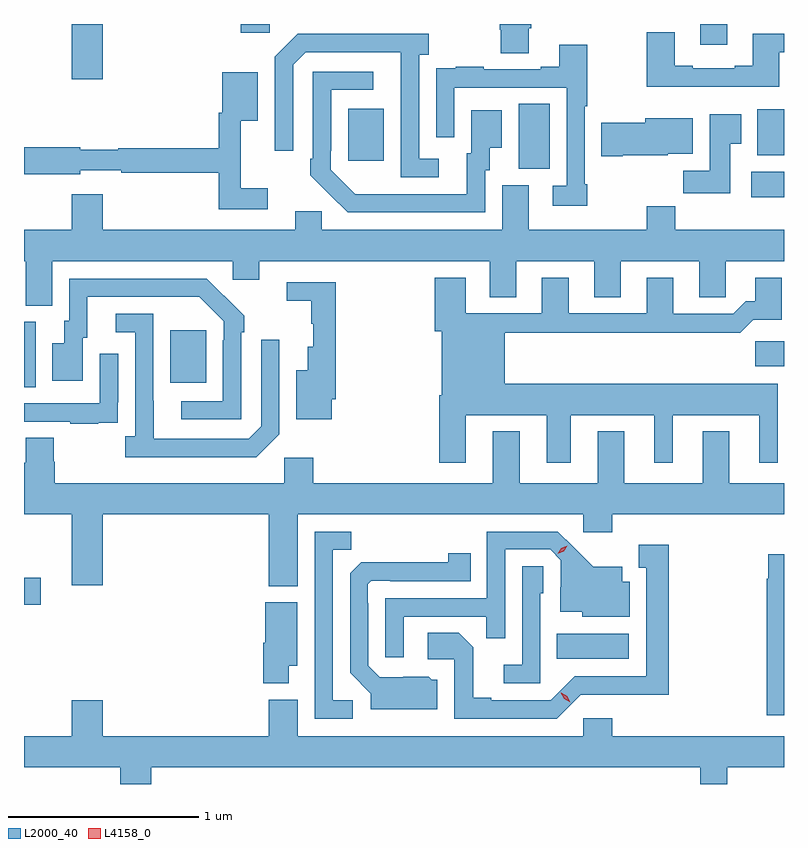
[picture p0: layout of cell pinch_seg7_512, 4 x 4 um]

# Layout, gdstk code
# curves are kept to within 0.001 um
import gdstk
lib = gdstk.Library(unit=1e-6, precision=1e-09)
def R(c, l, rs):  # rectangles x0, y0, x1, y1
    for r in rs: c.add(gdstk.rectangle(r[:2], r[2:], *l))
def P(c, l, *ps):  # polygons
    for p in ps: c.add(gdstk.Polygon(p, *l))
L2000_40 = (2000, 40)
L4158_0 = (4158, 0)

pinch_seg7_512 = lib.new_cell('pinch_seg7_512')
R(pinch_seg7_512, L2000_40, [(155.572,1065.122,155.953,1065.256), (152.769,1065.407,152.857,1065.549), (152.769,1066.552,152.83,1066.896), (153.539,1066.577,153.727,1066.852), (156.618,1066.664,156.769,1066.793), (156.597,1067.552,156.769,1067.686), (155.372,1067.701,155.536,1068.044), (154.475,1067.745,154.663,1068.019), (156.629,1067.774,156.769,1068.016), (153.02,1068.174,153.184,1068.464), (156.329,1068.354,156.469,1068.464), (153.911,1068.417,154.062,1068.464)])
P(pinch_seg7_512, L2000_40, [(155.425,1068.442),(155.438,1068.442),(155.438,1068.464),(155.273,1068.464),(155.273,1068.435),(155.278,1068.435),(155.278,1068.31),(155.425,1068.31)],
  [(156.745,1068.315),(156.769,1068.315),(156.769,1068.412),(156.605,1068.412),(156.605,1068.244),(156.509,1068.244),(156.509,1068.231),(156.289,1068.231),(156.289,1068.244),(156.193,1068.244),(156.193,1068.421),(156.046,1068.421),(156.046,1068.134),(156.745,1068.134)],
  [(154.951,1067.754),(154.848,1067.754),(154.848,1068.302),(154.9,1068.302),(154.9,1068.412),(154.21,1068.412),(154.089,1068.291),(154.089,1067.796),(154.185,1067.796),(154.185,1068.249),(154.251,1068.315),(154.751,1068.315),(154.752,1067.658),(154.951,1067.658)],
  [(155.734,1067.62),(155.721,1067.62),(155.721,1068.032),(155.734,1068.032),(155.734,1068.355),(155.585,1068.355),(155.585,1068.238),(155.489,1068.238),(155.489,1068.225),(155.189,1068.225),(155.189,1068.238),(155.041,1068.238),(155.041,1068.231),(154.939,1068.231),(154.939,1068.122),(154.938,1068.122),(154.938,1067.868),(155.034,1067.868),(155.034,1068.129),(155.625,1068.129),(155.625,1067.613),(155.553,1067.613),(155.553,1067.508),(155.734,1067.508)],
  [(155.196,1067.694),(155.221,1067.694),(155.221,1067.813),(155.284,1067.813),(155.284,1068.01),(155.123,1068.01),(155.123,1067.784),(155.099,1067.784),(155.099,1067.568),(154.512,1067.569),(154.383,1067.697),(154.383,1067.797),(154.386,1067.797),(154.386,1068.117),(154.606,1068.117),(154.606,1068.213),(154.29,1068.213),(154.29,1067.755),(154.275,1067.755),(154.275,1067.667),(154.472,1067.472),(155.196,1067.472)],
  [(154.051,1067.599),(153.911,1067.599),(153.911,1067.954),(154,1067.954),(154,1068.211),(153.812,1068.211),(153.812,1067.997),(153.793,1067.997),(153.793,1067.81),(153.266,1067.81),(153.266,1067.803),(153.066,1067.803),(153.066,1067.816),(152.769,1067.816),(152.769,1067.674),(153.066,1067.674),(153.066,1067.694),(153.28,1067.694),(153.28,1067.682),(153.793,1067.682),(153.793,1067.49),(154.051,1067.49)],
  [(156.487,1067.833),(156.544,1067.833),(156.544,1067.989),(156.377,1067.989),(156.377,1067.692),(156.238,1067.692),(156.238,1067.574),(156.487,1067.574)],
  [(155.92,1067.774),(156.156,1067.774),(156.156,1067.78),(156.289,1067.78),(156.289,1067.968),(156.038,1067.968),(156.038,1067.945),(155.808,1067.945),(155.808,1067.767),(155.92,1067.767)],
  [(152.917,1067.216),(153.867,1067.216),(153.867,1067.118),(154.006,1067.118),(154.006,1067.216),(155.219,1067.216),(155.219,1067.026),(155.359,1067.026),(155.359,1067.216),(155.771,1067.216),(155.771,1067.026),(155.911,1067.026),(155.911,1067.216),(156.323,1067.216),(156.323,1067.026),(156.462,1067.026),(156.462,1067.216),(156.769,1067.216),(156.769,1067.38),(156.197,1067.38),(156.197,1067.504),(156.046,1067.504),(156.046,1067.38),(155.425,1067.38),(155.425,1067.616),(155.285,1067.616),(155.285,1067.38),(154.335,1067.38),(154.335,1067.478),(154.196,1067.478),(154.196,1067.38),(153.184,1067.38),(153.184,1067.569),(153.02,1067.569),(153.02,1067.38),(152.769,1067.38),(152.769,1067.216),(152.777,1067.216),(152.777,1066.981),(152.917,1066.981)],
  [(155.095,1066.406),(155.519,1066.406),(155.519,1066.155),(155.647,1066.155),(155.647,1066.406),(156.086,1066.406),(156.086,1066.155),(156.184,1066.155),(156.184,1066.406),(156.638,1066.406),(156.638,1066.155),(156.736,1066.155),(156.736,1066.57),(155.299,1066.57),(155.299,1066.84),(156.283,1066.84),(156.283,1066.838),(156.539,1066.838),(156.608,1066.907),(156.757,1066.907),(156.757,1067.128),(156.617,1067.128),(156.617,1067.005),(156.568,1067.005),(156.501,1066.938),(156.187,1066.938),(156.187,1067.128),(156.047,1067.128),(156.047,1066.941),(155.635,1066.941),(155.635,1067.128),(155.495,1067.128),(155.495,1066.941),(155.095,1066.941),(155.095,1067.128),(154.931,1067.128),(154.931,1066.848),(154.967,1066.848),(154.967,1066.51),(154.955,1066.51),(154.955,1066.155),(155.095,1066.155)],
  [(153.912,1066.841),(153.927,1066.841),(153.927,1066.929),(153.73,1067.124),(153.006,1067.124),(153.006,1066.902),(152.981,1066.902),(152.981,1066.783),(152.918,1066.783),(152.918,1066.587),(153.079,1066.587),(153.079,1066.812),(153.103,1066.812),(153.103,1067.028),(153.691,1067.028),(153.819,1066.899),(153.819,1066.799),(153.816,1066.799),(153.816,1066.479),(153.597,1066.479),(153.597,1066.383),(153.912,1066.383)],
  [(154.39,1066.489),(154.409,1066.489),(154.409,1067.106),(154.152,1067.106),(154.152,1067.008),(154.281,1067.008),(154.281,1066.887),(154.292,1066.887),(154.292,1066.765),(154.262,1066.765),(154.262,1066.642),(154.202,1066.642),(154.202,1066.385),(154.39,1066.385)],
  [(154.113,1066.305),(154.113,1066.801),(154.017,1066.801),(154.017,1066.347),(153.951,1066.281),(153.451,1066.281),(153.45,1066.938),(153.252,1066.938),(153.252,1066.842),(153.354,1066.842),(153.354,1066.294),(153.303,1066.294),(153.303,1066.184),(153.992,1066.184)],
  [(153.161,1066.365),(153.263,1066.365),(153.263,1066.474),(153.264,1066.474),(153.264,1066.729),(153.168,1066.729),(153.168,1066.467),(152.769,1066.467),(152.769,1066.371),(153.013,1066.371),(153.013,1066.359),(153.161,1066.359)],
  [(154.21,1065.884),(155.712,1065.884),(155.712,1065.789),(155.864,1065.789),(155.864,1065.884),(156.769,1065.884),(156.769,1066.048),(156.481,1066.048),(156.481,1066.321),(156.341,1066.321),(156.341,1066.048),(155.929,1066.048),(155.929,1066.321),(155.789,1066.321),(155.789,1066.048),(155.377,1066.048),(155.377,1066.321),(155.237,1066.321),(155.237,1066.048),(154.292,1066.048),(154.292,1066.18),(154.14,1066.18),(154.14,1066.048),(152.93,1066.048),(152.93,1066.161),(152.925,1066.161),(152.925,1066.286),(152.777,1066.286),(152.777,1066.154),(152.769,1066.154),(152.769,1065.884),(153.02,1065.884),(153.02,1065.51),(153.184,1065.51),(153.184,1065.884),(154.058,1065.884),(154.058,1065.506),(154.21,1065.506)],
  [(154.498,1064.904),(154.395,1064.904),(154.395,1065.697),(154.491,1065.697),(154.491,1065.792),(154.299,1065.792),(154.299,1064.808),(154.498,1064.808)],
  [(154.767,1065.345),(155.203,1065.345),(155.203,1065.232),(155.301,1065.232),(155.301,1065.699),(155.538,1065.699),(155.595,1065.642),(155.595,1065.5),(155.591,1065.5),(155.591,1065.371),(155.706,1065.371),(155.706,1065.344),(155.956,1065.344),(155.956,1065.529),(155.917,1065.529),(155.917,1065.607),(155.765,1065.607),(155.578,1065.792),(155.205,1065.792),(155.205,1065.441),(154.671,1065.441),(154.671,1065.132),(154.767,1065.132)],
  [(155.7,1064.934),(156.163,1064.933),(156.163,1065.724),(156.005,1065.724),(156.005,1065.603),(156.044,1065.603),(156.044,1065.03),(155.667,1065.03),(155.541,1064.904),(155.227,1064.904),(155.227,1064.917),(155.133,1064.917),(155.133,1065.184),(155.057,1065.26),(154.893,1065.26),(154.893,1065.12),(155.034,1065.12),(155.034,1064.808),(155.574,1064.808)],
  [(154.945,1065.012),(154.914,1065.012),(154.898,1065.028),(154.641,1065.027),(154.581,1065.087),(154.581,1065.416),(154.578,1065.416),(154.578,1065.516),(154.596,1065.534),(154.696,1065.534),(154.696,1065.531),(155.12,1065.531),(155.12,1065.679),(155.002,1065.679),(155.002,1065.632),(154.544,1065.631),(154.485,1065.572),(154.485,1065.05),(154.595,1064.94),(154.595,1064.858),(154.945,1064.858)],
  [(156.769,1065.673),(156.686,1065.673),(156.686,1065.543),(156.679,1065.543),(156.679,1064.826),(156.769,1064.826)],
  [(155.487,1065.468),(155.502,1065.468),(155.502,1065.611),(155.391,1065.611),(155.391,1065.091),(155.295,1065.091),(155.295,1064.994),(155.487,1064.994)],
  [(154.162,1065.086),(154.207,1065.086),(154.207,1065.421),(154.04,1065.421),(154.04,1065.207),(154.028,1065.207),(154.028,1064.993),(154.162,1064.993)],
  [(153.44,1064.552),(156.329,1064.552),(156.329,1064.464),(156.469,1064.464),(156.469,1064.552),(156.769,1064.552),(156.769,1064.716),(155.864,1064.716),(155.864,1064.809),(155.712,1064.809),(155.712,1064.716),(154.21,1064.716),(154.21,1064.908),(154.058,1064.908),(154.058,1064.716),(153.184,1064.716),(153.184,1064.905),(153.02,1064.905),(153.02,1064.716),(152.769,1064.716),(152.769,1064.552),(153.275,1064.552),(153.275,1064.464),(153.44,1064.464)])
P(pinch_seg7_512, L4158_0, [(155.644,1064.893),(155.613,1064.912),(155.595,1064.945),(155.595,1064.945),(155.596,1064.945),(155.627,1064.926),(155.645,1064.894),(155.645,1064.893)],
  [(155.579,1065.675),(155.579,1065.675),(155.596,1065.704),(155.627,1065.719),(155.628,1065.719),(155.628,1065.719),(155.61,1065.689),(155.579,1065.675)])

lib.write_gds('pinch_seg7_512.gds')
